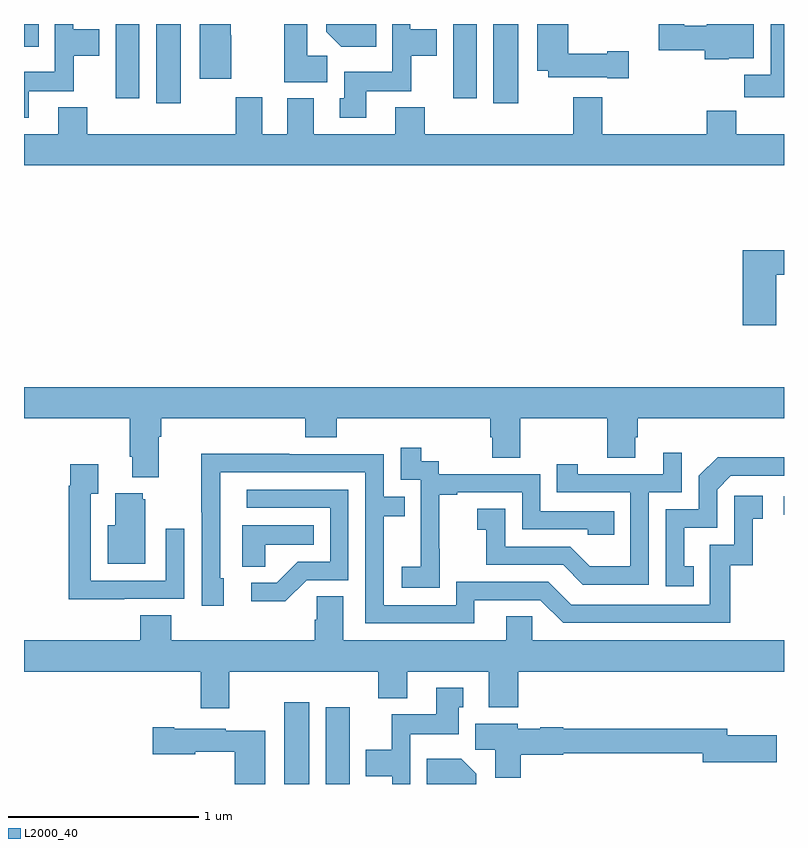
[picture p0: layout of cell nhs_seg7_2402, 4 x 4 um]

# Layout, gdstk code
import gdstk
lib = gdstk.Library(unit=1e-6, precision=1e-09)
def R(c, l, rs):  # rectangles x0, y0, x1, y1
    for r in rs: c.add(gdstk.rectangle(r[:2], r[2:], *l))
def P(c, l, *ps):  # polygons
    for p in ps: c.add(gdstk.Polygon(p, *l))
L2000_40 = (2000, 40)

nhs_seg7_2402 = lib.new_cell('nhs_seg7_2402')
R(nhs_seg7_2402, L2000_40, [(268.37,1024,268.501,1024.429), (268.589,1024,268.714,1024.405), (270.999,1025.418,271,1025.514), (267.695,1027.584,267.826,1028), (269.471,1027.584,269.602,1028), (267.482,1027.608,267.607,1028), (269.258,1027.608,269.383,1028), (267,1027.88,267.077,1028)])
P(nhs_seg7_2402, L2000_40, [(271,1028),(270.929,1028),(270.929,1027.732),(270.79,1027.732),(270.79,1027.614),(271,1027.614)],
  [(267.025,1027.646),(267.261,1027.646),(267.261,1027.832),(267.397,1027.832),(267.397,1027.972),(267.258,1027.972),(267.258,1028),(267.162,1028),(267.162,1027.75),(267,1027.75),(267,1027.506),(267.025,1027.506)],
  [(268.09,1027.94),(268.088,1027.94),(268.088,1028),(267.926,1028),(267.926,1027.713),(268.09,1027.713)],
  [(270.184,1027.856),(270.071,1027.856),(270.071,1027.843),(269.864,1027.843),(269.864,1028),(269.702,1028),(269.702,1027.754),(269.76,1027.754),(269.76,1027.721),(270.071,1027.721),(270.071,1027.714),(270.184,1027.714)],
  [(268.853,1028),(268.592,1028),(268.592,1027.958),(268.67,1027.88),(268.853,1027.88)],
  [(270.708,1027.82),(270.841,1027.82),(270.841,1028),(270.594,1028),(270.594,1027.99),(270.474,1027.99),(270.474,1028),(270.342,1028),(270.342,1027.861),(270.583,1027.861),(270.583,1027.814),(270.708,1027.814)],
  [(268.597,1027.832),(268.492,1027.832),(268.492,1028),(268.37,1028),(268.37,1027.694),(268.597,1027.694)],
  [(268.801,1027.646),(269.037,1027.646),(269.037,1027.832),(269.173,1027.832),(269.173,1027.972),(269.034,1027.972),(269.034,1028),(268.938,1028),(268.938,1027.75),(268.685,1027.75),(268.685,1027.608),(268.661,1027.608),(268.661,1027.506),(268.801,1027.506)],
  [(271,1027.42),(270.749,1027.42),(270.749,1027.544),(270.593,1027.544),(270.593,1027.42),(270.044,1027.42),(270.044,1027.615),(269.891,1027.615),(269.891,1027.42),(269.108,1027.42),(269.108,1027.561),(268.955,1027.561),(268.955,1027.42),(268.525,1027.42),(268.525,1027.609),(268.385,1027.609),(268.385,1027.42),(268.255,1027.42),(268.255,1027.615),(268.115,1027.615),(268.115,1027.42),(267.332,1027.42),(267.332,1027.561),(267.179,1027.561),(267.179,1027.42),(267,1027.42),(267,1027.256),(271,1027.256)],
  [(270.96,1026.679),(271,1026.679),(271,1026.808),(270.782,1026.808),(270.782,1026.414),(270.96,1026.414)],
  [(267.709,1025.828),(267.722,1025.828),(267.722,1025.924),(268.481,1025.924),(268.481,1025.825),(268.646,1025.825),(268.646,1025.924),(269.453,1025.924),(269.453,1025.826),(269.465,1025.826),(269.465,1025.716),(269.613,1025.716),(269.613,1025.924),(270.07,1025.924),(270.07,1025.716),(270.217,1025.716),(270.217,1025.826),(270.23,1025.826),(270.23,1025.924),(271,1025.924),(271,1026.088),(267,1026.088),(267,1025.924),(267.557,1025.924),(267.557,1025.722),(267.569,1025.722),(267.569,1025.615),(267.709,1025.615)],
  [(269.187,1025.239),(269.186,1025.239),(269.186,1025.523),(269.281,1025.523),(269.281,1025.535),(269.622,1025.535),(269.622,1025.34),(269.967,1025.34),(269.967,1025.313),(270.107,1025.313),(270.107,1025.436),(269.718,1025.436),(269.718,1025.631),(269.184,1025.631),(269.184,1025.7),(269.092,1025.7),(269.092,1025.77),(268.983,1025.77),(268.983,1025.601),(269.088,1025.601),(269.088,1025.372),(269.087,1025.372),(269.087,1025.143),(268.989,1025.143),(268.989,1025.033),(269.187,1025.033)],
  [(270.288,1025.535),(270.462,1025.535),(270.462,1025.743),(270.365,1025.743),(270.365,1025.631),(269.914,1025.631),(269.914,1025.683),(269.803,1025.683),(269.803,1025.535),(270.192,1025.535),(270.192,1025.146),(269.978,1025.146),(269.874,1025.25),(269.532,1025.25),(269.532,1025.449),(269.385,1025.449),(269.385,1025.339),(269.434,1025.339),(269.434,1025.154),(269.837,1025.154),(269.942,1025.049),(270.288,1025.049)],
  [(269.371,1024.968),(269.718,1024.968),(269.838,1024.848),(270.718,1024.848),(270.718,1025.151),(270.836,1025.151),(270.836,1025.397),(270.889,1025.397),(270.889,1025.518),(270.738,1025.518),(270.738,1025.259),(270.609,1025.259),(270.609,1024.944),(269.88,1024.944),(269.76,1025.064),(269.274,1025.064),(269.274,1024.941),(268.893,1024.941),(268.893,1025.41),(269.003,1025.41),(269.003,1025.511),(268.893,1025.511),(268.893,1025.736),(268.397,1025.736),(268.397,1025.738),(267.934,1025.738),(267.934,1025.431),(267.936,1025.431),(267.936,1024.938),(268.051,1024.938),(268.051,1025.082),(268.032,1025.082),(268.032,1025.64),(268.797,1025.64),(268.797,1024.845),(269.371,1024.845)],
  [(270.524,1025.145),(270.475,1025.145),(270.475,1025.349),(270.648,1025.349),(270.648,1025.55),(270.72,1025.622),(271,1025.622),(271,1025.72),(270.65,1025.72),(270.552,1025.622),(270.552,1025.445),(270.378,1025.445),(270.378,1025.04),(270.524,1025.04)],
  [(267.527,1024.974),(267.843,1024.974),(267.843,1025.344),(267.747,1025.344),(267.747,1025.07),(267.351,1025.07),(267.351,1025.527),(267.391,1025.527),(267.391,1025.683),(267.243,1025.683),(267.243,1025.57),(267.235,1025.57),(267.235,1024.973),(267.527,1024.973)],
  [(268.488,1025.073),(268.707,1025.073),(268.707,1025.55),(268.173,1025.55),(268.173,1025.454),(268.611,1025.454),(268.611,1025.169),(268.442,1025.169),(268.331,1025.058),(268.197,1025.058),(268.197,1024.961),(268.375,1024.961)],
  [(267.637,1025.499),(267.626,1025.499),(267.626,1025.53),(267.479,1025.53),(267.479,1025.362),(267.44,1025.362),(267.44,1025.159),(267.637,1025.159)],
  [(268.269,1025.258),(268.526,1025.258),(268.526,1025.362),(268.148,1025.362),(268.148,1025.143),(268.269,1025.143)],
  [(269.6,1024.592),(271,1024.592),(271,1024.756),(269.676,1024.756),(269.676,1024.883),(269.537,1024.883),(269.537,1024.756),(268.681,1024.756),(268.681,1024.988),(268.542,1024.988),(268.542,1024.865),(268.529,1024.865),(268.529,1024.756),(267.776,1024.756),(267.776,1024.889),(267.611,1024.889),(267.611,1024.756),(267,1024.756),(267,1024.592),(267.929,1024.592),(267.929,1024.398),(268.081,1024.398),(268.081,1024.592),(268.865,1024.592),(268.865,1024.451),(269.017,1024.451),(269.017,1024.592),(269.447,1024.592),(269.447,1024.403),(269.6,1024.403)],
  [(269.034,1024.262),(269.287,1024.262),(269.287,1024.404),(269.311,1024.404),(269.311,1024.507),(269.171,1024.507),(269.171,1024.366),(268.936,1024.366),(268.936,1024.18),(268.799,1024.18),(268.799,1024.04),(268.938,1024.04),(268.938,1024),(269.034,1024)],
  [(269.615,1024.154),(269.838,1024.154),(269.838,1024.162),(270.572,1024.162),(270.572,1024.115),(270.961,1024.115),(270.961,1024.257),(270.7,1024.257),(270.7,1024.291),(269.838,1024.291),(269.838,1024.299),(269.718,1024.299),(269.718,1024.291),(269.598,1024.291),(269.598,1024.318),(269.375,1024.318),(269.375,1024.18),(269.48,1024.18),(269.48,1024.032),(269.615,1024.032)],
  [(268.27,1024.279),(268.062,1024.279),(268.062,1024.291),(267.79,1024.291),(267.79,1024.299),(267.678,1024.299),(267.678,1024.157),(267.9,1024.157),(267.9,1024.169),(268.108,1024.169),(268.108,1024),(268.27,1024)],
  [(269.38,1024.054),(269.302,1024.132),(269.119,1024.132),(269.119,1024),(269.38,1024)])

lib.write_gds('nhs_seg7_2402.gds')
